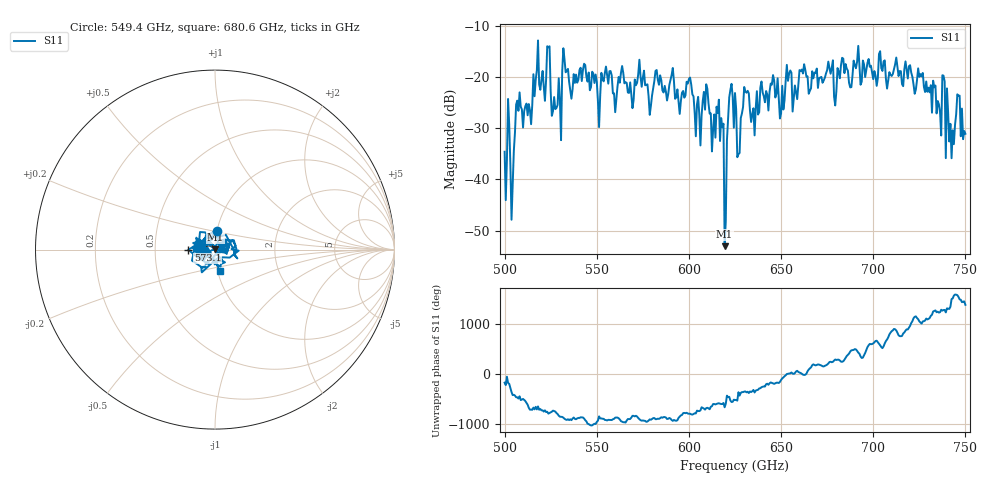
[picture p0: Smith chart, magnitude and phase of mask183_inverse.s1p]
!Created with skrf (http://scikit-rf.org).
# GHz S MA R 50.0
!freq magS11 angS11
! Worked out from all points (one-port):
!   401 points, 500 GHz to 750 GHz, reference 50 ohm
!   lowest |S11| = -53.0 dB at 619.4 GHz (marker M1), VSWR 1.00, Z = 50.1 + j0.187 ohm
!   |S11| at or under -10 dB: start of sweep to end of sweep
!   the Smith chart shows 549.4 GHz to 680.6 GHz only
!   S11 on the Smith chart (normalised r, x): 549.4 GHz: 0.99, +0.21; 573.1 GHz: 0.74, -0.00; 680.6 GHz: 1.02, -0.25
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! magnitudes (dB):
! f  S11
! 500 GHz  -34.6
! 504.4 GHz  -40.9
! 507.5 GHz  -26.6
! 513.8 GHz  -26.4
! 516.9 GHz  -20.5
! 523.8 GHz  -14.2
! 526.9 GHz  -23.9
! 531.2 GHz  -18.8
! 549.4 GHz  -19.5
! 562.5 GHz  -21.1
! 573.1 GHz  -16.6
! 593.8 GHz  -22.4
! 600 GHz  -20.3
! 605 GHz  -23.8
! 609.4 GHz  -21.4
! 617.5 GHz  -28.0
! 619.4 GHz  -53.0
! 620.6 GHz  -32.4
! 622.5 GHz  -22.5
! 625 GHz  -23.1
! 627.5 GHz  -34.8
! 631.2 GHz  -23.0
! 634.4 GHz  -27.2
! 656.2 GHz  -26.7
! 680.6 GHz  -18.2
! 687.5 GHz  -22.0
! 718.8 GHz  -20.2
! 750 GHz  -31.1
